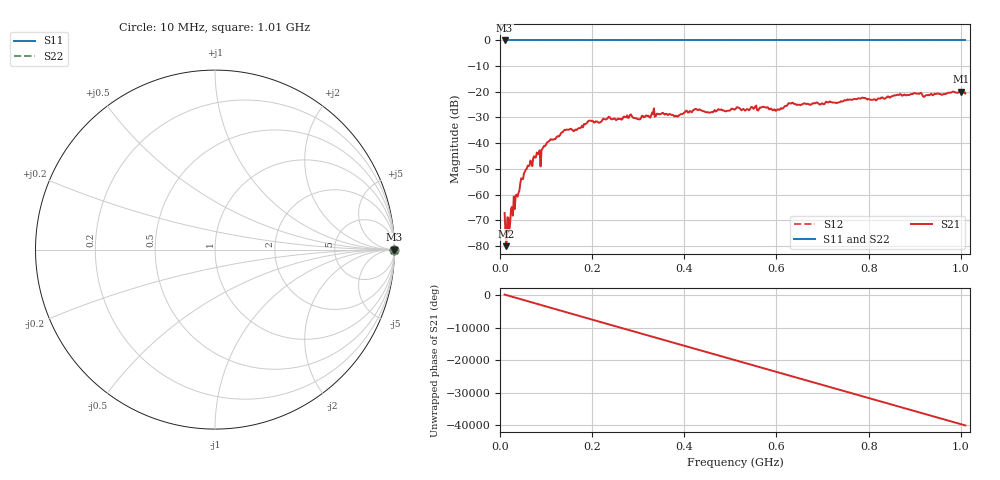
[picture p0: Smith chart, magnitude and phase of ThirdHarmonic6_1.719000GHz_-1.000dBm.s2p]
! 8/16/2025 8:41:34 PM
! C:\ANRITSUVNA\TEMP\TEMP.S2P
! CHANNEL.1
! TR.MEASUREMENT
! RAW.DATA
! RF.CORRECTION.OFF
! AVERAGING.OFF
! IF.BANDWIDTH: 5KHZ
! SWEEPTYPE:  FREQ.SWEEP(Linear)
! Reference Plane Port Info
! PORT:  PORT1  PORT2
! DISTANCE:  0  m  0  m
! TIME:  0  s  0  s
! PHASE.OFFSET:  0  deg.  0  deg.
! LOSS:  0  dB  0  dB
! REF.LOSS:  0  dB  0  dB
! REF.FREQ:  0  Hz  0  Hz
! Power Info
! POWER:  -20  dBm  -20  dBm
! EFF.POWER:  -20  dBm  -20  dBm
! SOURCE.ATTEN:  0  dB  0  dB
! TEST.ATTEN:  0  dB  0  dB
# GHZ S RI R 50.0
! FREQ.GHZ  S11RE  S11IM  S21RE  S21IM  S12RE  S12IM  S22RE  S22IM
!; PortSelection: Port_12
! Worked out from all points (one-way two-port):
!   501 points, 10 MHz to 1.01 GHz, reference 50 ohm
!   highest |S21| = -19.92 dB at 1 GHz (marker M1); lowest = -80.1 dB at 14 MHz (marker M2)
!   lowest |S11| = 0.0 dB at 10 MHz (marker M3)
!   |S11| at or under -10 dB: nowhere
!   |S22| runs from 0.0 to 0.0 dB; largest |S21 - S12| = 1.1
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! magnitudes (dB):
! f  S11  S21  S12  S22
! 10 MHz  0.0  -67.2  0.0  0.0
! 14 MHz  0.0  -80.1  0.0  0.0
! 18 MHz  0.0  -69.0  0.0  0.0
! 20 MHz  0.0  -74.8  0.0  0.0
! 24 MHz  0.0  -65.6  0.0  0.0
! 26 MHz  0.0  -64.8  0.0  0.0
! 50 MHz  0.0  -54.0  0.0  0.0
! 76 MHz  0.0  -45.7  0.0  0.0
! 138 MHz  0.0  -35.2  0.0  0.0
! 178 MHz  0.0  -33.2  0.0  0.0
! 196 MHz  0.0  -31.3  0.0  0.0
! 344 MHz  0.0  -28.7  0.0  0.0
! 382 MHz  0.0  -29.3  0.0  0.0
! 424 MHz  0.0  -26.6  0.0  0.0
! 458 MHz  0.0  -27.9  0.0  0.0
! 510 MHz  0.0  -26.9  0.0  0.0
! 602 MHz  0.0  -26.8  0.0  0.0
! 630 MHz  0.0  -24.6  0.0  0.0
! 678 MHz  0.0  -24.6  0.0  0.0
! 844 MHz  0.0  -22.0  0.0  0.0
! 1 GHz  0.0  -19.9  0.0  0.0
! 1.01 GHz  0.0  -20.7  0.0  0.0
